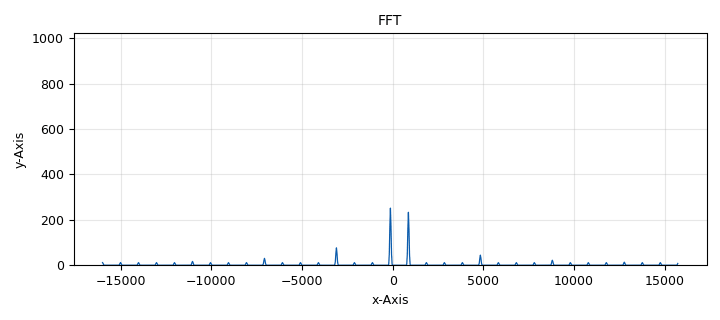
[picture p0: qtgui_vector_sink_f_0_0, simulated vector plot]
<?xml version='1.0' encoding='utf-8'?>
<?grc format='1' created='3.7.9'?>
<flow_graph>
<block>
<key>options</key>
<param><key>id</key><value>comparativa_fft</value></param>
<param><key>category</key><value>Custom</value></param>
<param><key>generate_options</key><value>qt_gui</value></param>
</block>
<block>
<key>variable</key>
<param><key>id</key><value>diezmado</value></param>
<param><key>value</key><value>2048</value></param>
</block>
<block>
<key>variable</key>
<param><key>id</key><value>fc</value></param>
<param><key>value</key><value>0</value></param>
</block>
<block>
<key>variable</key>
<param><key>id</key><value>fft_size</value></param>
<param><key>value</key><value>1024</value></param>
</block>
<block>
<key>variable</key>
<param><key>id</key><value>samp_rate</value></param>
<param><key>value</key><value>32000</value></param>
</block>
<block>
<key>E3TRadio_FFT_SDRCol_triangular</key>
<param><key>id</key><value>E3TRadio_FFT_SDRCol_triangular_0</value></param>
<param><key>N</key><value>fft_size</value></param>
</block>
<block>
<key>analog_sig_source_x</key>
<param><key>id</key><value>analog_sig_source_x_0</value></param>
<param><key>amp</key><value>1</value></param>
<param><key>freq</key><value>1000</value></param>
<param><key>offset</key><value>0</value></param>
<param><key>type</key><value>complex</value></param>
<param><key>samp_rate</key><value>samp_rate</value></param>
<param><key>waveform</key><value>analog.GR_SQR_WAVE</value></param>
</block>
<block>
<key>blocks_complex_to_mag</key>
<param><key>id</key><value>blocks_complex_to_mag_1</value></param>
<param><key>vlen</key><value>fft_size</value></param>
</block>
<block>
<key>blocks_complex_to_mag</key>
<param><key>id</key><value>blocks_complex_to_mag_1_0</value></param>
<param><key>vlen</key><value>fft_size</value></param>
</block>
<block>
<key>blocks_file_source</key>
<param><key>id</key><value>blocks_file_source_0</value></param>
<param><key>_enabled</key><value>0</value></param>
<param><key>file</key><value>/media/jose/0e390070-2bbb-4ebb-beee-cfa3ef28d796/josejorge/Documentos/GNU Radio/jose.wav</value></param>
<param><key>type</key><value>complex</value></param>
<param><key>repeat</key><value>True</value></param>
</block>
<block>
<key>blocks_stream_to_vector</key>
<param><key>id</key><value>blocks_stream_to_vector_0</value></param>
<param><key>type</key><value>complex</value></param>
<param><key>num_items</key><value>fft_size</value></param>
</block>
<block>
<key>blocks_stream_to_vector</key>
<param><key>id</key><value>blocks_stream_to_vector_0_0</value></param>
<param><key>type</key><value>complex</value></param>
<param><key>num_items</key><value>fft_size</value></param>
</block>
<block>
<key>fft_vxx</key>
<param><key>id</key><value>fft_vxx_0</value></param>
<param><key>fft_size</key><value>fft_size</value></param>
<param><key>forward</key><value>True</value></param>
<param><key>type</key><value>complex</value></param>
<param><key>shift</key><value>True</value></param>
<param><key>window</key><value>window.blackmanharris(1024)</value></param>
</block>
<block>
<key>qtgui_tab_widget</key>
<param><key>id</key><value>qtgui_tab_widget_0</value></param>
<param><key>label0</key><value>Analisis Espectral</value></param>
<param><key>num_tabs</key><value>1</value></param>
</block>
<block>
<key>qtgui_vector_sink_f</key>
<param><key>id</key><value>qtgui_vector_sink_f_0</value></param>
<param><key>gui_hint</key><value>qtgui_tab_widget_0@0</value></param>
<param><key>name</key><value>"SDR-COL"</value></param>
<param><key>showports</key><value>True</value></param>
<param><key>update_time</key><value>0.1</value></param>
<param><key>vlen</key><value>1024</value></param>
<param><key>x_start</key><value>fc-(samp_rate/2)</value></param>
<param><key>x_step</key><value>int(samp_rate/fft_size)</value></param>
<param><key>ymax</key><value>1024</value></param>
<param><key>ymin</key><value>0</value></param>
</block>
<block>
<key>qtgui_vector_sink_f</key>
<param><key>id</key><value>qtgui_vector_sink_f_0_0</value></param>
<param><key>gui_hint</key><value>qtgui_tab_widget_0@0</value></param>
<param><key>name</key><value>"FFT"</value></param>
<param><key>showports</key><value>True</value></param>
<param><key>update_time</key><value>0.1</value></param>
<param><key>vlen</key><value>1024</value></param>
<param><key>x_start</key><value>fc-(samp_rate/2)</value></param>
<param><key>x_step</key><value>int(samp_rate/fft_size)</value></param>
<param><key>ymax</key><value>1024</value></param>
<param><key>ymin</key><value>0</value></param>
</block>
<block>
<key>virtual_sink</key>
<param><key>id</key><value>virtual_sink_0</value></param>
<param><key>stream_id</key><value>senalSDRCol</value></param>
</block>
<block>
<key>virtual_sink</key>
<param><key>id</key><value>virtual_sink_0_0</value></param>
<param><key>stream_id</key><value>senalfft</value></param>
</block>
<block>
<key>virtual_sink</key>
<param><key>id</key><value>virtual_sink_1</value></param>
<param><key>stream_id</key><value>senal_tiempo</value></param>
</block>
<block>
<key>virtual_source</key>
<param><key>id</key><value>virtual_source_0</value></param>
<param><key>stream_id</key><value>senalSDRCol</value></param>
</block>
<block>
<key>virtual_source</key>
<param><key>id</key><value>virtual_source_0_0</value></param>
<param><key>stream_id</key><value>senalfft</value></param>
</block>
<connection><source_block_id>E3TRadio_FFT_SDRCol_triangular_0</source_block_id><sink_block_id>virtual_sink_0</sink_block_id><source_key>0</source_key><sink_key>0</sink_key></connection>
<connection><source_block_id>analog_sig_source_x_0</source_block_id><sink_block_id>blocks_stream_to_vector_0</sink_block_id><source_key>0</source_key><sink_key>0</sink_key></connection>
<connection><source_block_id>analog_sig_source_x_0</source_block_id><sink_block_id>blocks_stream_to_vector_0_0</sink_block_id><source_key>0</source_key><sink_key>0</sink_key></connection>
<connection><source_block_id>analog_sig_source_x_0</source_block_id><sink_block_id>virtual_sink_1</sink_block_id><source_key>0</source_key><sink_key>0</sink_key></connection>
<connection><source_block_id>blocks_complex_to_mag_1</source_block_id><sink_block_id>qtgui_vector_sink_f_0</sink_block_id><source_key>0</source_key><sink_key>0</sink_key></connection>
<connection><source_block_id>blocks_complex_to_mag_1_0</source_block_id><sink_block_id>qtgui_vector_sink_f_0_0</sink_block_id><source_key>0</source_key><sink_key>0</sink_key></connection>
<connection><source_block_id>blocks_file_source_0</source_block_id><sink_block_id>blocks_stream_to_vector_0</sink_block_id><source_key>0</source_key><sink_key>0</sink_key></connection>
<connection><source_block_id>blocks_file_source_0</source_block_id><sink_block_id>blocks_stream_to_vector_0_0</sink_block_id><source_key>0</source_key><sink_key>0</sink_key></connection>
<connection><source_block_id>blocks_file_source_0</source_block_id><sink_block_id>virtual_sink_1</sink_block_id><source_key>0</source_key><sink_key>0</sink_key></connection>
<connection><source_block_id>blocks_stream_to_vector_0</source_block_id><sink_block_id>E3TRadio_FFT_SDRCol_triangular_0</sink_block_id><source_key>0</source_key><sink_key>0</sink_key></connection>
<connection><source_block_id>blocks_stream_to_vector_0_0</source_block_id><sink_block_id>fft_vxx_0</sink_block_id><source_key>0</source_key><sink_key>0</sink_key></connection>
<connection><source_block_id>fft_vxx_0</source_block_id><sink_block_id>virtual_sink_0_0</sink_block_id><source_key>0</source_key><sink_key>0</sink_key></connection>
<connection><source_block_id>virtual_source_0</source_block_id><sink_block_id>blocks_complex_to_mag_1</sink_block_id><source_key>0</source_key><sink_key>0</sink_key></connection>
<connection><source_block_id>virtual_source_0_0</source_block_id><sink_block_id>blocks_complex_to_mag_1_0</sink_block_id><source_key>0</source_key><sink_key>0</sink_key></connection>
</flow_graph>
